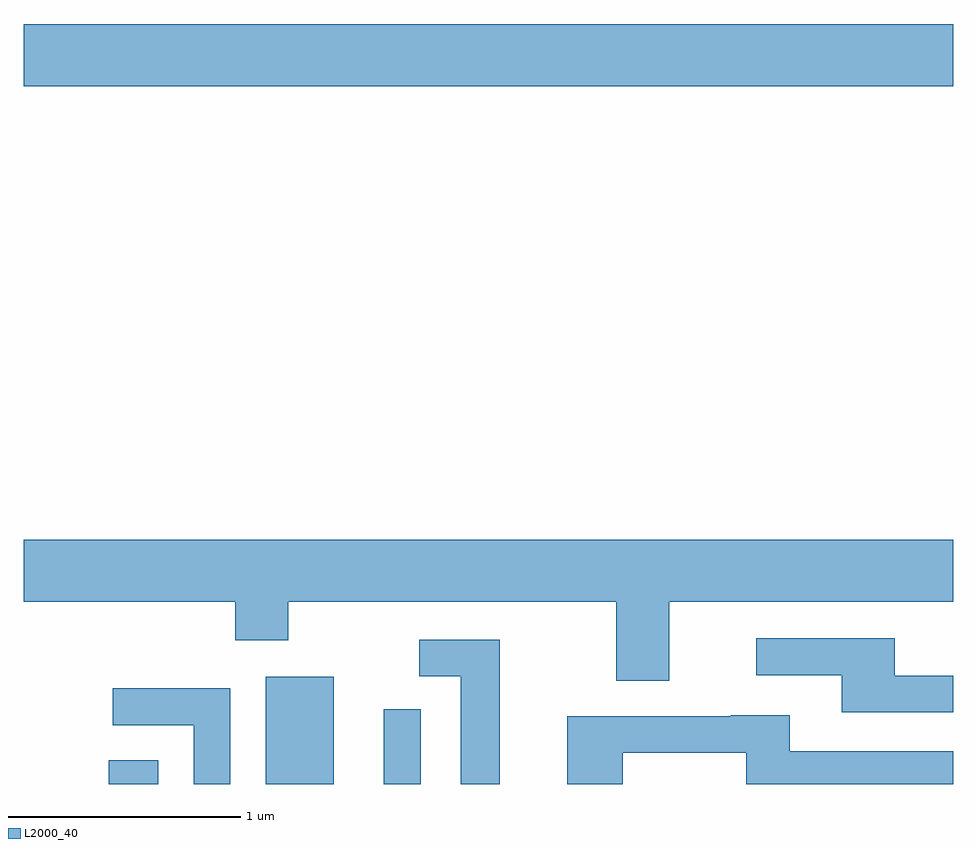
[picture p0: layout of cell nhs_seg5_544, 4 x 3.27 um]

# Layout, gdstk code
import gdstk
lib = gdstk.Library(unit=1e-6, precision=1e-09)
def R(c, l, rs):  # rectangles x0, y0, x1, y1
    for r in rs: c.add(gdstk.rectangle(r[:2], r[2:], *l))
def P(c, l, *ps):  # polygons
    for p in ps: c.add(gdstk.Polygon(p, *l))
L2000_40 = (2000, 40)

nhs_seg5_544 = lib.new_cell('nhs_seg5_544')
R(nhs_seg5_544, L2000_40, [(201.976,1396.072,202.189,1396.174), (202.651,1396.072,202.944,1396.534), (203.161,1396.072,203.319,1396.393), (201.611,1399.076,205.611,1399.344)])
P(nhs_seg5_544, L2000_40, [(204.389,1396.856),(205.611,1396.856),(205.611,1397.124),(201.611,1397.124),(201.611,1396.856),(202.521,1396.856),(202.521,1396.691),(202.749,1396.691),(202.749,1396.856),(204.161,1396.856),(204.161,1396.516),(204.389,1396.516)],
  [(205.611,1396.539),(205.359,1396.539),(205.359,1396.699),(204.763,1396.699),(204.763,1396.541),(205.131,1396.541),(205.131,1396.381),(205.611,1396.381)],
  [(203.659,1396.694),(203.313,1396.694),(203.313,1396.536),(203.491,1396.536),(203.491,1396.072),(203.659,1396.072)],
  [(202.499,1396.484),(201.993,1396.484),(201.993,1396.326),(202.341,1396.326),(202.341,1396.072),(202.499,1396.072)],
  [(204.189,1396.206),(204.721,1396.206),(204.721,1396.072),(205.611,1396.072),(205.611,1396.214),(204.909,1396.214),(204.909,1396.369),(204.655,1396.369),(204.655,1396.364),(203.951,1396.364),(203.951,1396.072),(204.189,1396.072)])

lib.write_gds('nhs_seg5_544.gds')
